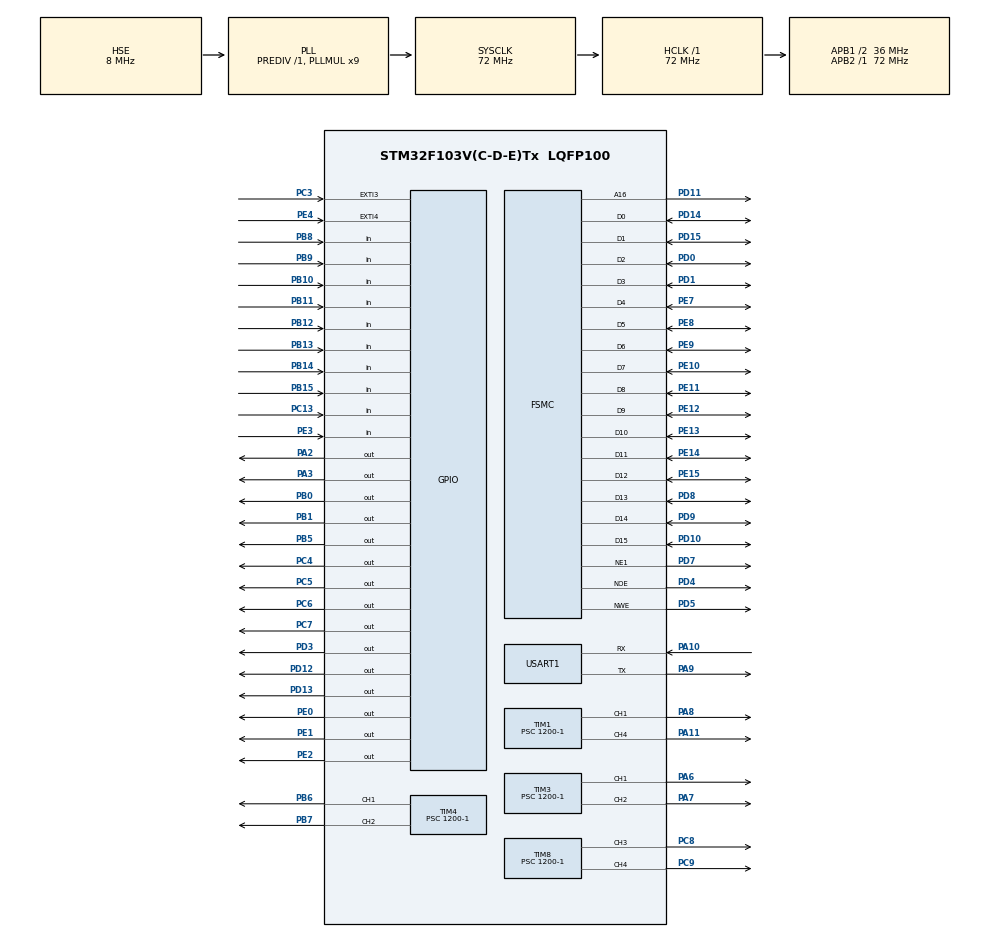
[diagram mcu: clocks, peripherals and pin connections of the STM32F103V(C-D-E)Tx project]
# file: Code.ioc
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Mcu.Family=STM32F1
Mcu.Name=STM32F103V(C-D-E)Tx
Mcu.Package=LQFP100
NVIC.PriorityGroup=NVIC_PRIORITYGROUP_4
OSC_IN.Mode=HSE-External-Oscillator
OSC_IN.Signal=RCC_OSC_IN
OSC_OUT.Mode=HSE-External-Oscillator
OSC_OUT.Signal=RCC_OSC_OUT
PA10.Mode=Asynchronous
PA10.Signal=USART1_RX
PA11.Signal=S_TIM1_CH4
PA13.Mode=Serial_Wire
PA13.Signal=SYS_JTMS-SWDIO
PA14.Mode=Serial_Wire
PA14.Signal=SYS_JTCK-SWCLK
PA2.Signal=GPIO_Output
PA3.Signal=GPIO_Output
PA6.Signal=S_TIM3_CH1
PA7.Signal=S_TIM3_CH2
PA8.Signal=S_TIM1_CH1
PA9.Mode=Asynchronous
PA9.Signal=USART1_TX
PB0.Signal=GPIO_Output
PB1.Signal=GPIO_Output
PB10.Signal=GPIO_Input
PB11.Signal=GPIO_Input
PB12.Signal=GPIO_Input
PB13.Signal=GPIO_Input
PB14.Signal=GPIO_Input
PB15.Signal=GPIO_Input
PB5.Signal=GPIO_Output
PB6.Signal=S_TIM4_CH1
PB7.Signal=S_TIM4_CH2
PB8.Signal=GPIO_Input
PB9.Signal=GPIO_Input
PC13-TAMPER-RTC.Signal=GPIO_Input
PC14-OSC32_IN.Mode=LSE-External-Oscillator
PC14-OSC32_IN.Signal=RCC_OSC32_IN
PC15-OSC32_OUT.Mode=LSE-External-Oscillator
PC15-OSC32_OUT.Signal=RCC_OSC32_OUT
PC3.Signal=GPXTI3
PC4.Signal=GPIO_Output
PC5.Signal=GPIO_Output
PC6.Signal=GPIO_Output
PC7.Signal=GPIO_Output
PC8.Signal=S_TIM8_CH3
PC9.Signal=S_TIM8_CH4
PD0.Mode=16b-d1
PD0.Signal=FSMC_D2
PD1.Mode=16b-d1
PD1.Signal=FSMC_D3
PD10.Mode=16b-d1
PD10.Signal=FSMC_D15
PD11.Mode=A16_1
PD11.Signal=FSMC_A16
PD12.Signal=GPIO_Output
PD13.Signal=GPIO_Output
PD14.Mode=16b-d1
PD14.Signal=FSMC_D0
PD15.Mode=16b-d1
PD15.Signal=FSMC_D1
PD3.Signal=GPIO_Output
PD4.Mode=Lcd1
PD4.Signal=FSMC_NOE
PD5.Mode=Lcd1
PD5.Signal=FSMC_NWE
PD7.Mode=NorPsramChipSelect1_1
PD7.Signal=FSMC_NE1
PD8.Mode=16b-d1
PD8.Signal=FSMC_D13
PD9.Mode=16b-d1
PD9.Signal=FSMC_D14
PE0.Signal=GPIO_Output
PE1.Signal=GPIO_Output
PE10.Mode=16b-d1
PE10.Signal=FSMC_D7
PE11.Mode=16b-d1
PE11.Signal=FSMC_D8
PE12.Mode=16b-d1
PE12.Signal=FSMC_D9
PE13.Mode=16b-d1
PE13.Signal=FSMC_D10
PE14.Mode=16b-d1
PE14.Signal=FSMC_D11
PE15.Mode=16b-d1
PE15.Signal=FSMC_D12
PE2.Signal=GPIO_Output
PE3.Signal=GPIO_Input
PE4.Signal=GPXTI4
PE7.Mode=16b-d1
PE7.Signal=FSMC_D4
PE8.Mode=16b-d1
PE8.Signal=FSMC_D5
PE9.Mode=16b-d1
PE9.Signal=FSMC_D6
ProjectManager.HeapSize=0x200
ProjectManager.StackSize=0x400
ProjectManager.TargetToolchain=STM32CubeIDE
RCC.AHBFreq_Value=72000000
RCC.APB1CLKDivider=RCC_HCLK_DIV2
RCC.APB1Freq_Value=36000000
RCC.APB1TimFreq_Value=72000000
RCC.APB2Freq_Value=72000000
RCC.APB2TimFreq_Value=72000000
RCC.HCLKFreq_Value=72000000
RCC.PLLMUL=RCC_PLL_MUL9
RCC.PLLSourceVirtual=RCC_PLLSOURCE_HSE
RCC.SYSCLKFreq_VALUE=72000000
RCC.SYSCLKSource=RCC_SYSCLKSOURCE_PLLCLK
RCC.USBFreq_Value=72000000
SH.S_TIM1_CH1.0=TIM1_CH1,PWM Generation1 CH1
SH.S_TIM1_CH4.0=TIM1_CH4,PWM Generation4 CH4
SH.S_TIM3_CH1.0=TIM3_CH1,PWM Generation1 CH1
SH.S_TIM3_CH2.0=TIM3_CH2,PWM Generation2 CH2
SH.S_TIM4_CH1.0=TIM4_CH1,PWM Generation1 CH1
SH.S_TIM4_CH2.0=TIM4_CH2,PWM Generation2 CH2
SH.S_TIM8_CH3.0=TIM8_CH3,PWM Generation3 CH3
SH.S_TIM8_CH4.0=TIM8_CH4,PWM Generation4 CH4
TIM1.Channel-PWM\ Generation1\ CH1=TIM_CHANNEL_1
TIM1.Channel-PWM\ Generation4\ CH4=TIM_CHANNEL_4
TIM1.Period=1200-1
TIM1.Prescaler=1200-1
TIM1.Pulse-PWM\ Generation1\ CH1=30
TIM1.Pulse-PWM\ Generation4\ CH4=1200-1
TIM2.Period=1200-1
TIM2.Prescaler=1200-1
TIM3.Channel-PWM\ Generation1\ CH1=TIM_CHANNEL_1
TIM3.Channel-PWM\ Generation2\ CH2=TIM_CHANNEL_2
TIM3.Period=1200-1
TIM3.Prescaler=1200-1
TIM3.Pulse-PWM\ Generation1\ CH1=33
TIM3.Pulse-PWM\ Generation2\ CH2=33
TIM4.Channel-PWM\ Generation1\ CH1=TIM_CHANNEL_1
TIM4.Channel-PWM\ Generation2\ CH2=TIM_CHANNEL_2
TIM4.Period=1200-1
TIM4.Prescaler=1200-1
TIM4.Pulse-PWM\ Generation1\ CH1=30
TIM8.Channel-PWM\ Generation3\ CH3=TIM_CHANNEL_3
TIM8.Channel-PWM\ Generation4\ CH4=TIM_CHANNEL_4
TIM8.Period=1200-1
TIM8.Prescaler=1200-1
TIM8.Pulse-PWM\ Generation3\ CH3=30
TIM8.Pulse-PWM\ Generation4\ CH4=30
USART1.VirtualMode=VM_ASYNC
VP_TIM1_VS_ClockSourceINT.Mode=Internal
VP_TIM2_VS_ClockSourceINT.Mode=Internal
VP_TIM3_VS_ClockSourceINT.Mode=Internal
VP_TIM4_VS_ClockSourceINT.Mode=Internal
board=custom

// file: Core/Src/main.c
/* USER CODE BEGIN Header */
/**
  ******************************************************************************
  * @file           : main.c
  * @brief          : Main program body
  ******************************************************************************
  * @attention
  *
  * Copyright (c) 2023 STMicroelectronics.
  * All rights reserved.
  *
  * This software is licensed under terms that can be found in the LICENSE file
  * in the root directory of this software component.
  * If no LICENSE file comes with this software, it is provided AS-IS.
  *
  ******************************************************************************
  */
/* USER CODE END Header */
#include "main.h"
#include "tim.h"
#include "usart.h"
#include "gpio.h"
#include "fsmc.h"

/* USER CODE BEGIN Includes */
#include <stdio.h>
#include "lcd.h"
#include "servo.h"
#include "movement.h"
/* USER CODE END Includes */

/* USER CODE BEGIN PV */
uint8_t start = 0;
/* USER CODE END PV */

void SystemClock_Config(void);

int main(void)
{

  /* MCU Configuration--------------------------------------------------------*/

  /* Reset of all peripherals, Initializes the Flash interface and the Systick. */
  HAL_Init();

  /* Configure the system clock */
  SystemClock_Config();

  /* Initialize all configured peripherals */
  MX_GPIO_Init();
  MX_TIM3_Init();
  MX_TIM4_Init();
  MX_FSMC_Init();
  MX_TIM2_Init();
  MX_TIM8_Init();
  MX_TIM1_Init();
  MX_USART1_UART_Init();
  /* USER CODE BEGIN 2 */
  HAL_TIM_PWM_Start(&htim4, TIM_CHANNEL_1);
  HAL_TIM_PWM_Start(&htim2, TIM_CHANNEL_3);
  HAL_TIM_PWM_Start(&htim4, TIM_CHANNEL_3);
  HAL_TIM_PWM_Start(&htim4, TIM_CHANNEL_4);
  HAL_TIM_PWM_Start(&htim3, TIM_CHANNEL_1);
  HAL_TIM_PWM_Start(&htim3, TIM_CHANNEL_2);
  HAL_TIM_PWM_Start(&htim3, TIM_CHANNEL_3);
  HAL_TIM_PWM_Start(&htim3, TIM_CHANNEL_4);

  LCD_INIT();
  servo_init();
  uint32_t last_tick = 0;
  uint8_t flag = 4;
  /* USER CODE END 2 */

  /* Infinite loop */
  while (1)
  {

    /* USER CODE BEGIN 3 */
//	  insert_cube();
//	  if (HAL_GPIO_ReadPin(GPIOC, GPIO_PIN_13) == SET) {
//		  if (HAL_GetTick() - last_tick < 100) {
//			  	  char string[20];
//			  	  sprintf(string, "It is now case %d", flag);
//				  LCD_DrawString(0, 0, string);
//		  }
//		  switch (flag) {
//			  case 0:
//				  movement_F();
//				  movement_aF();
//				  break;
//			  case 1:
//				  movement_R();
//				  movement_aR();
//				  break;
//			  case 2:
//				  movement_L();
//				  movement_aL();
//				  break;
//			  case 3:
//				  movement_B();
//				  movement_aB();
//				  break;
//			  case 4:
//				  movement_U();
//				  movement_aU();
//				  break;
//			  case 5:
//				  servo_pull(east_back);
//				  servo_pull(north_back);
//				  HAL_Delay(10000);
//				  servo_push(east_back);
//				  servo_push(north_back);
//				  HAL_Delay(DELAY_TIME_P);
//				  break;
//		  }
//		  flag++;
//		  if (flag == 6)
//			  flag = 4;
//	  }

  }
  /* USER CODE END 3 */
}

void SystemClock_Config(void)
{
  RCC_OscInitTypeDef RCC_OscInitStruct = {0};
  RCC_ClkInitTypeDef RCC_ClkInitStruct = {0};

  /** Initializes the RCC Oscillators according to the specified parameters
  * in the RCC_OscInitTypeDef structure.
  */
  RCC_OscInitStruct.OscillatorType = RCC_OSCILLATORTYPE_HSE;
  RCC_OscInitStruct.HSEState = RCC_HSE_ON;
  RCC_OscInitStruct.HSEPredivValue = RCC_HSE_PREDIV_DIV1;
  RCC_OscInitStruct.HSIState = RCC_HSI_ON;
  RCC_OscInitStruct.PLL.PLLState = RCC_PLL_ON;
  RCC_OscInitStruct.PLL.PLLSource = RCC_PLLSOURCE_HSE;
  RCC_OscInitStruct.PLL.PLLMUL = RCC_PLL_MUL9;
  if (HAL_RCC_OscConfig(&RCC_OscInitStruct) != HAL_OK)
  {
    Error_Handler();
  }

  /** Initializes the CPU, AHB and APB buses clocks
  */
  RCC_ClkInitStruct.ClockType = RCC_CLOCKTYPE_HCLK|RCC_CLOCKTYPE_SYSCLK
                              |RCC_CLOCKTYPE_PCLK1|RCC_CLOCKTYPE_PCLK2;
  RCC_ClkInitStruct.SYSCLKSource = RCC_SYSCLKSOURCE_PLLCLK;
  RCC_ClkInitStruct.AHBCLKDivider = RCC_SYSCLK_DIV1;
  RCC_ClkInitStruct.APB1CLKDivider = RCC_HCLK_DIV2;
  RCC_ClkInitStruct.APB2CLKDivider = RCC_HCLK_DIV1;

  if (HAL_RCC_ClockConfig(&RCC_ClkInitStruct, FLASH_LATENCY_2) != HAL_OK)
  {
    Error_Handler();
  }
}

void Error_Handler(void)
{
  __disable_irq();
  while (1)
  {
  }
}
